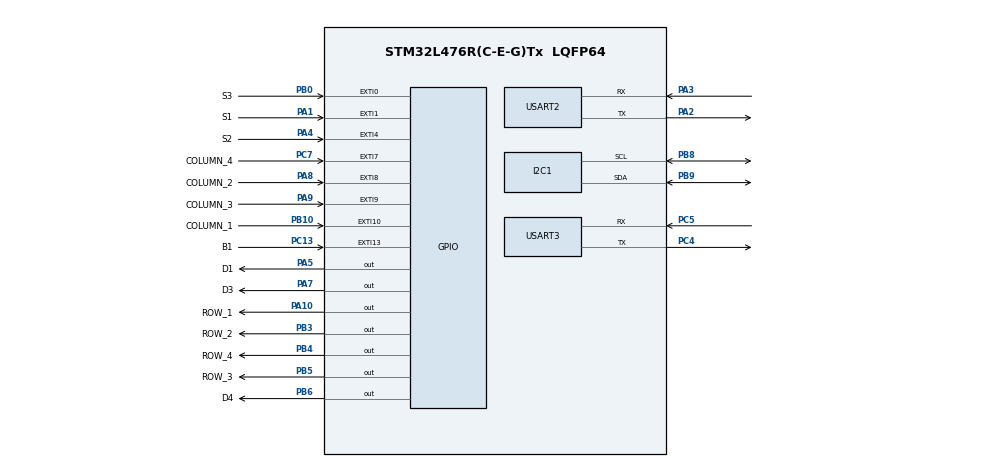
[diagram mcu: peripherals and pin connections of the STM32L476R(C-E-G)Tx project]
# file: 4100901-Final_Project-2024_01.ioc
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Mcu.Family=STM32L4
Mcu.Name=STM32L476R(C-E-G)Tx
Mcu.Package=LQFP64
NVIC.EXTI0_IRQn=true\:0\:0\:false\:false\:true\:true\:true\:true
NVIC.EXTI15_10_IRQn=true\:0\:0\:false\:false\:true\:true\:true\:true
NVIC.EXTI1_IRQn=true\:0\:0\:false\:false\:true\:true\:true\:true
NVIC.EXTI4_IRQn=true\:0\:0\:false\:false\:true\:true\:true\:true
NVIC.EXTI9_5_IRQn=true\:0\:0\:false\:false\:true\:true\:true\:true
NVIC.PriorityGroup=NVIC_PRIORITYGROUP_4
NVIC.USART2_IRQn=true\:0\:0\:false\:false\:true\:true\:true\:true
NVIC.USART3_IRQn=true\:0\:0\:false\:false\:true\:true\:true\:true
PA1.GPIO_Label=S1
PA1.GPIO_ModeDefaultEXTI=GPIO_MODE_IT_FALLING
PA1.GPIO_PuPd=GPIO_PULLUP
PA1.Signal=GPXTI1
PA10.GPIO_Label=ROW_1
PA10.GPIO_ModeDefaultOutputPP=GPIO_MODE_OUTPUT_PP
PA10.GPIO_Speed=GPIO_SPEED_FREQ_HIGH
PA10.PinState=GPIO_PIN_SET
PA10.Signal=GPIO_Output
PA2.Mode=Asynchronous
PA2.Signal=USART2_TX
PA3.Mode=Asynchronous
PA3.Signal=USART2_RX
PA4.GPIO_Label=S2
PA4.GPIO_ModeDefaultEXTI=GPIO_MODE_IT_FALLING
PA4.GPIO_PuPd=GPIO_PULLUP
PA4.Signal=GPXTI4
PA5.GPIO_Label=D1
PA5.PinState=GPIO_PIN_SET
PA5.Signal=GPIO_Output
PA7.GPIO_Label=D3
PA7.PinState=GPIO_PIN_SET
PA7.Signal=GPIO_Output
PA8.GPIO_Label=COLUMN_2
PA8.GPIO_PuPd=GPIO_PULLDOWN
PA8.Signal=GPXTI8
PA9.GPIO_Label=COLUMN_3
PA9.GPIO_PuPd=GPIO_PULLDOWN
PA9.Signal=GPXTI9
PB0.GPIO_Label=S3
PB0.Signal=GPXTI0
PB10.GPIO_Label=COLUMN_1
PB10.GPIO_PuPd=GPIO_PULLDOWN
PB10.Signal=GPXTI10
PB3\ (JTDO-TRACESWO).GPIO_Label=ROW_2
PB3\ (JTDO-TRACESWO).GPIO_ModeDefaultOutputPP=GPIO_MODE_OUTPUT_PP
PB3\ (JTDO-TRACESWO).GPIO_Speed=GPIO_SPEED_FREQ_HIGH
PB3\ (JTDO-TRACESWO).PinState=GPIO_PIN_SET
PB3\ (JTDO-TRACESWO).Signal=GPIO_Output
PB4\ (NJTRST).GPIO_Label=ROW_4
PB4\ (NJTRST).GPIO_ModeDefaultOutputPP=GPIO_MODE_OUTPUT_PP
PB4\ (NJTRST).GPIO_Speed=GPIO_SPEED_FREQ_HIGH
PB4\ (NJTRST).PinState=GPIO_PIN_SET
PB4\ (NJTRST).Signal=GPIO_Output
PB5.GPIO_Label=ROW_3
PB5.GPIO_ModeDefaultOutputPP=GPIO_MODE_OUTPUT_PP
PB5.GPIO_Speed=GPIO_SPEED_FREQ_HIGH
PB5.PinState=GPIO_PIN_SET
PB5.Signal=GPIO_Output
PB6.GPIO_Label=D4
PB6.PinState=GPIO_PIN_SET
PB6.Signal=GPIO_Output
PB8.Mode=I2C
PB8.Signal=I2C1_SCL
PB9.Mode=I2C
PB9.Signal=I2C1_SDA
PC13.GPIO_Label=B1
PC13.Signal=GPXTI13
PC4.Mode=Asynchronous
PC4.Signal=USART3_TX
PC5.Mode=Asynchronous
PC5.Signal=USART3_RX
PC7.GPIO_Label=COLUMN_4
PC7.GPIO_PuPd=GPIO_PULLDOWN
PC7.Signal=GPXTI7
ProjectManager.HeapSize=0x200
ProjectManager.StackSize=0x400
ProjectManager.TargetToolchain=STM32CubeIDE
RCC.HSE_VALUE=8000000
RCC.HSI_VALUE=16000000
RCC.LSE_VALUE=32768
RCC.MSI_VALUE=4000000
RCC.VCOOutputFreq_Value=32000000
USART2.VirtualMode-Asynchronous=VM_ASYNC
USART3.VirtualMode-Asynchronous=VM_ASYNC
board=custom

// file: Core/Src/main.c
/* USER CODE BEGIN Header */
/**
  ******************************************************************************
  * @file           : main.c
  * @brief          : Main program body
  ******************************************************************************
  * @attention
  *
  * Copyright (c) 2024 STMicroelectronics.
  * All rights reserved.
  *
  * This software is licensed under terms that can be found in the LICENSE file
  * in the root directory of this software component.
  * If no LICENSE file comes with this software, it is provided AS-IS.
  *
  ******************************************************************************
  */
/* USER CODE END Header */
#include "main.h"
#include "turn_signal.h"
/* USER CODE BEGIN Includes */
#include <stdio.h>

#include "ssd1306.h"
#include "ssd1306_fonts.h"
#include "password_validator.h"

#include "ring_buffer.h"
#include "keypad.h"
#define DEBOUNCE_TIME 200
uint8_t data_usart2;
uint8_t newline[] = "\r\n";

#define BUFFER_CAPACITY 10
uint8_t keyboard_buffer_memory[BUFFER_CAPACITY];
ring_buffer_t keyboard_ring_buffer;

#define USART2_BUFFER_SIZE 10
uint8_t usart2_buffer[USART2_BUFFER_SIZE];
ring_buffer_t usart2_rb;
uint8_t usart2_rx;

#define MAX_PASSWORD_LENGTH 10
char current_password[MAX_PASSWORD_LENGTH] = "12345";
uint8_t changing_password = 0;
char new_password[MAX_PASSWORD_LENGTH];
uint8_t new_password_index = 0;

uint8_t first_key_pressed = 0;
uint8_t cursor_x_position = 10;  // Control de la posición del cursor horizontal
uint8_t cursor_y_position = 30;  // Línea en la que aparecerán las teclas
uint8_t max_cursor_x_position = 80;

#define MAX_DISPLAY_CHARS 20 // Ajusta este valor según el tamaño de la pantalla y el tamaño del texto

// Buffer para almacenar la secuencia de teclas
static char display_buffer[MAX_DISPLAY_CHARS + 1]; // +1 para el terminador nulo
static uint8_t buffer_index = 0; // Asegúrate de que esta definición sea única

// Variables para la posición actual del cursor en la pantalla
static uint8_t cursor_x = 10;
static uint8_t cursor_y = 30;
uint16_t left_toggles=0;
uint8_t incorrect_password_toggles = 6;  // Parpadeos para contraseña incorrecta
uint32_t incorrect_password_interval = 125;  // 125 ms entre parpadeos
uint16_t left_toggles2=0;
uint8_t authorized_access=0;
uint8_t flag_parking;
uint8_t validate_uart=2;
uint8_t key_pressed=0xFF;
uint8_t detected_d=0;
uint8_t detected_a=0;
uint8_t detected_b=0;

/* USER CODE END Includes */

I2C_HandleTypeDef hi2c1;

UART_HandleTypeDef huart2;
UART_HandleTypeDef huart3;

/* USER CODE BEGIN PV */

uint32_t left_last_press_tick = 0;
uint16_t right_toggles=0;
uint32_t counter_left=0;
uint32_t last_debounce_time_left = 0;
uint32_t last_debounce_time_right = 0,last_debounce_time_hazard = 0;
uint32_t counter_right=0,counter_hazard=0;
uint32_t last_debounce_time_parking=0,counter_parking=0,parking_toggle=0;

/* USER CODE END PV */

void SystemClock_Config(void);
static void MX_GPIO_Init(void);
static void MX_I2C1_Init(void);
static void MX_USART2_UART_Init(void);
static void MX_USART3_UART_Init(void);

/* USER CODE BEGIN 0 */
int _write(int file, char *ptr, int len)
{
  HAL_UART_Transmit(&huart2, (uint8_t *)ptr, len, 10);
  return len;
}

void HAL_UART_RxCpltCallback(UART_HandleTypeDef *huart)
{
  /* Data received in USART2 */
  if (huart->Instance == USART2) {
	  usart2_rx = USART2->RDR; // leyendo el byte recibido de USART2
	  ring_buffer_write(&usart2_rb, usart2_rx);
	  }

	  // put the data received in buffer
	  HAL_UART_Receive_IT(&huart2, &usart2_rx, 1); // enable interrupt to continue receiving
	  ATOMIC_SET_BIT(USART2->CR1, USART_CR1_RXNEIE); // usando un funcion mas liviana para reducir memoria
  }

// Contraseña actual, inicialmente es la contraseña por defecto "12345"

void HAL_GPIO_EXTI_Callback(uint16_t GPIO_Pin)
{
    key_pressed = keypad_scan(GPIO_Pin);

    // Si el sistema tiene acceso autorizado
    if (authorized_access == 1) {
        handle_all_buttons(GPIO_Pin);
    }

    if (key_pressed != 0xFF) {

        // Resetear secuencia
        if (key_pressed == '*') {
            ring_buffer_reset(&keyboard_ring_buffer);
            memset(display_buffer, 0, sizeof(display_buffer)); // Limpiar el buffer de pantalla
            buffer_index = 0; // Reiniciar el índice del buffer

            ssd1306_Fill(Black);
            ssd1306_SetCursor(10, 20);
            ssd1306_WriteString("Secuencia reiniciada", Font_6x8, White);
            ssd1306_UpdateScreen();
            HAL_UART_Transmit(&huart2, (uint8_t*)"Secuencia reiniciada\n\r", 22, 10);
            return;
        }

        if (key_pressed == 'A') {
            if (authorized_access == 1 && !changing_password) {
                // Cambiar a estado de cambio de contraseña
                changing_password = 1;
                new_password_index = 0;  // Reiniciar índice de la nueva contraseña

                // Mostrar mensaje de cambio de contraseña en la pantalla
                ssd1306_Fill(Black);
                ssd1306_SetCursor(10, 10);
                ssd1306_WriteString("Cambio de", Font_6x8, White);
                ssd1306_SetCursor(10, 20);
                ssd1306_WriteString("contrasena", Font_6x8, White);
                ssd1306_SetCursor(10, 40);
                ssd1306_WriteString("Ingrese nueva", Font_6x8, White);
                ssd1306_SetCursor(10, 50);
                ssd1306_WriteString("y presione #", Font_6x8, White);
                ssd1306_UpdateScreen();

                return;
            }
        }

        if (key_pressed == 'B') {
            detected_b = 1;
        }

        // Si estamos en el estado de cambiar la contraseña
        if (changing_password) {
            if (key_pressed == '#' ) {
                // Cuando el usuario presiona '#', validar la contraseña ingresada
                if (new_password_index > 0) {
                    strncpy(current_password, new_password, MAX_PASSWORD_LENGTH);  // Guardar la nueva contraseña

                    // Mostrar mensaje de éxito en la pantalla
                    ssd1306_Fill(Black);
                    ssd1306_SetCursor(10, 20);
                    ssd1306_WriteString("Contrasena", Font_6x8, White);
                    ssd1306_SetCursor(10, 30);
                    ssd1306_WriteString("cambiada!", Font_6x8, White);
                    ssd1306_UpdateScreen();
                    HAL_UART_Transmit(&huart2, (uint8_t*)"Contrasena cambiada\n\r", 21, 10);

                    // Resetear el estado de cambio de contraseña
                    changing_password = 0;

                    ssd1306_UpdateScreen();
                }
                return;
            } else if (key_pressed != '*' && key_pressed != '#' && new_password_index < MAX_PASSWORD_LENGTH) {
                // Almacenar la tecla como parte de la nueva contraseña
                new_password[new_password_index++] = key_pressed;
                new_password[new_password_index] = '\0'; // Null-terminar el string

                // Mostrar los asteriscos mientras se ingresa la nueva contraseña
                ssd1306_Fill(Black);
                ssd1306_SetCursor(10, 30);
                ssd1306_WriteString("Nueva clave:", Font_6x8, White);
                ssd1306_SetCursor(10, 50);
                ssd1306_WriteString("********", Font_6x8, White);  // Mostrar asteriscos
                ssd1306_UpdateScreen();
            }
            return;
        }

        // Escribir la tecla en el ring buffer si no es el menú
        if (key_pressed != '#' && key_pressed != 'D' && key_pressed != 'A' && key_pressed != 'B') {
            ring_buffer_write(&keyboard_ring_buffer, key_pressed);

            if (buffer_index < MAX_DISPLAY_CHARS) {
                display_buffer[buffer_index++] = key_pressed;
                display_buffer[buffer_index] = '\0'; // Null-terminar el buffer

                ssd1306_Fill(Black);
                ssd1306_SetCursor(10, 30);
                ssd1306_WriteString(display_buffer, Font_6x8, White);
                ssd1306_UpdateScreen();
                HAL_UART_Transmit(&huart2, &key_pressed, 1, 10);
            }
            return;
        }

        // Validar la contraseña con la actual (que es "12345" por defecto o la nueva si se ha cambiado)
        const char* my_id2 = current_password;  // Usamos la contraseña actual
        uint8_t result = validate_password(my_id2, &keyboard_ring_buffer);

        if (result == 1) {
            HAL_UART_Transmit(&huart2, (uint8_t*)"Contrasena Correcta\n\r", 21, 10);
            HAL_UART_Transmit(&huart2, (uint8_t*)"Iniciando...\n\r", 14, 10);
            // Contraseña correcta
            ssd1306_Fill(Black);
            ssd1306_SetCursor(10, 20);
            ssd1306_WriteString("Acceso autorizado", Font_6x8, White);
            ssd1306_UpdateScreen();
            authorized_access = 1;
        } else {
            ssd1306_Fill(Black);
            ssd1306_SetCursor(10, 20);
            ssd1306_WriteString("Incorrecto", Font_6x8, White);
            ssd1306_UpdateScreen();
            HAL_UART_Transmit(&huart2, (uint8_t*)"Incorrecto\n\r", 12, 10);
            left_toggles = 6;
        }

        // Reiniciar buffer y display
        ring_buffer_reset(&keyboard_ring_buffer);
        memset(display_buffer, 0, sizeof(display_buffer));
        buffer_index = 0;
    }
}

void heartbeat(void)
{
	static uint32_t heartbeat_tick = 0;
	if (heartbeat_tick < HAL_GetTick()){
		heartbeat_tick = HAL_GetTick()+ 500;
		HAL_GPIO_TogglePin(D1_GPIO_Port, D1_Pin);
	}
}
void turn_signal_left(void)
{
	if(parking_toggle==0){
		static uint32_t turn_toggle_tick = 0;
		if (turn_toggle_tick < HAL_GetTick()){
			if(left_toggles > 0){
			turn_toggle_tick = HAL_GetTick()+ 200;
			HAL_GPIO_TogglePin(D3_GPIO_Port, D3_Pin);
			left_toggles--;
			if(left_toggles==0){

				ssd1306_Fill(Black);
				ssd1306_SetCursor(10, 10);
				ssd1306_WriteString("left Light OFF", Font_7x10, White);
				ssd1306_UpdateScreen();
				if(right_toggles!=0){
					ssd1306_SetCursor(10, 40);
					ssd1306_WriteString("Right Light ON", Font_7x10, White);
					ssd1306_UpdateScreen();

				}else{
					ssd1306_SetCursor(10, 40);
					ssd1306_WriteString("Right Light OFF", Font_7x10, White);
					ssd1306_UpdateScreen();

				}

			}else{
				ssd1306_Fill(Black);
				ssd1306_SetCursor(10, 10);
				ssd1306_WriteString("left Light ON", Font_7x10, White);
				ssd1306_SetCursor(10, 40);
				ssd1306_WriteString("Right Light OFF", Font_7x10, White);
				ssd1306_UpdateScreen();
			}

		}else{
	//		HAL_GPIO_WritePin(D3_GPIO_Port, D3_Pin,1);
		}

	  }

	}

}

void turn_signal_right (void){
	if(parking_toggle==0){
		static uint32_t tunr_togle_tick = 0;
		if(tunr_togle_tick  < HAL_GetTick() ){
			if(right_toggles> 0){
				tunr_togle_tick = HAL_GetTick() + 200;
				HAL_GPIO_TogglePin(D4_GPIO_Port, D4_Pin);
				right_toggles--;

				if(right_toggles==0){

					ssd1306_Fill(Black);
					ssd1306_SetCursor(10, 40);
					ssd1306_WriteString("Right Light OFF", Font_7x10, White);
					ssd1306_UpdateScreen();
					if(right_toggles!=0){
						ssd1306_SetCursor(10, 10);
						ssd1306_WriteString("light Light ON", Font_7x10, White);
						ssd1306_UpdateScreen();

					}else{
						ssd1306_SetCursor(10, 10);
						ssd1306_WriteString("light Light OFF", Font_7x10, White);
						ssd1306_UpdateScreen();

					}

				}else{
					ssd1306_Fill(Black);
					ssd1306_SetCursor(10, 10);
					ssd1306_WriteString("left Light OFF", Font_7x10, White);
					ssd1306_SetCursor(10, 40);
					ssd1306_WriteString("Right Light ON", Font_7x10, White);
					ssd1306_UpdateScreen();
				}

				}

			} else{
	//			HAL_GPIO_WritePin(D4_GPIO_Port, D4_Pin, 1);

			}

	}

	}

void signal_parking_light (void){

	static uint32_t tunr_togle_tick = 0;
	if(tunr_togle_tick  < HAL_GetTick() ){
		if(parking_toggle> 0){
			tunr_togle_tick = HAL_GetTick() + 300;
			HAL_GPIO_TogglePin(D4_GPIO_Port, D4_Pin);
			HAL_GPIO_TogglePin(D3_GPIO_Port, D3_Pin);
			parking_toggle--;

			if(parking_toggle==0){

			}else{
				ssd1306_Fill(Black);
				ssd1306_SetCursor(0, 25);
				ssd1306_WriteString("Parking Light ON", Font_7x10, White);
				ssd1306_UpdateScreen();
			}

		}
	}
}

void handle_all_buttons(uint16_t GPIO_Pin) {
    // Lógica para apagar la luz derecha si se presiona S1 (luz izquierda)
    if (GPIO_Pin == S1_Pin) {
    	if(flag_parking==0){
            if (right_toggles > 0) {
                right_toggles = 0;  // Apaga la luz derecha si está parpadeando
                HAL_GPIO_WritePin(D4_GPIO_Port, D4_Pin, 1);  // Apaga el LED derecho
                HAL_UART_Transmit(&huart2, "Right light off (due to S1)\r\n", 30, 10);

            }
            handle_turn_signal(D3_GPIO_Port, D3_Pin, &counter_left, &left_toggles, 200, "S1\r\n", "S1_off\r\n");

    	}

    }

    // Lógica para apagar la luz izquierda si se presiona S2 (luz derecha)
    if (GPIO_Pin == S2_Pin) {
    	if(flag_parking==0){
            if (left_toggles > 0) {
                left_toggles = 0;  // Apaga la luz izquierda si está parpadeando
                HAL_GPIO_WritePin(D3_GPIO_Port, D3_Pin, 1);  // Apaga el LED izquierdo
                HAL_UART_Transmit(&huart2, (uint8_t *)"Left light off (due to S2)\r\n", 29, 10);
            }
            handle_turn_signal(D4_GPIO_Port, D4_Pin, &counter_right, &right_toggles, 200, "S2\r\n", "S2_off\r\n");

    	}

    }

    // Lógica para apagar ambas luces si se presiona S3 (luces de parqueo)
    if (GPIO_Pin == S3_Pin) {
        if (left_toggles > 0 || right_toggles > 0) {
            left_toggles = 0;  // Apaga la luz izquierda si está encendida
            right_toggles = 0;  // Apaga la luz derecha si está encendida
            HAL_GPIO_WritePin(D3_GPIO_Port, D3_Pin, 1);  // Apaga el LED izquierdo
            HAL_GPIO_WritePin(D4_GPIO_Port, D4_Pin, 1);  // Apaga el LED derecho
            HAL_UART_Transmit(&huart2, (uint8_t *)"Both lights off (due to S3)\r\n", 31, 10);
        }

        handle_parking_lights(D3_GPIO_Port, D3_Pin, D4_GPIO_Port, D4_Pin, &counter_parking, &parking_toggle, 300, "Parking ON\r\n", "Parking OFF\r\n");

    }
}

// Función para manejar el botón y los toggles (izquierda o derecha)
void handle_turn_signal(GPIO_TypeDef* GPIO_Port, uint16_t GPIO_Pin, uint32_t* counter, uint32_t* toggles, uint32_t blink_interval, char* uart_msg_on, char* uart_msg_off) {
    uint32_t current_time = HAL_GetTick();

    if (current_time - last_debounce_time_left >= DEBOUNCE_TIME) {

        if (current_time - last_debounce_time_left > 1000 && *counter < 2) {
            *counter = 0;  // Reinicia el contador si ha pasado suficiente tiempo sin una segunda pulsación
        }

        (*counter)++;
        last_debounce_time_left = current_time;

        if (*counter == 1) {
            *toggles = 6;  // 6 parpadeos
            HAL_UART_Transmit(&huart2, uart_msg_on, strlen(uart_msg_on), 10);
        } else if (*counter == 2) {
            *toggles = 0xEEEEEEE;  // Parpadeo infinito
            HAL_UART_Transmit(&huart2, uart_msg_on, strlen(uart_msg_on), 10);
        } else if (*counter >= 3) {
            *counter = 0;
            *toggles = 0;  // Apagar la luz
            HAL_UART_Transmit(&huart2, uart_msg_off, strlen(uart_msg_off), 10);
            HAL_GPIO_WritePin(GPIO_Port, GPIO_Pin, 1);
        }
    }
}

// Función para manejar las luces de estacionamiento (ambas luces a la vez)
void handle_parking_lights(GPIO_TypeDef* GPIO_Port_Left, uint16_t GPIO_Pin_Left, GPIO_TypeDef* GPIO_Port_Right, uint16_t GPIO_Pin_Right, uint32_t* counter, uint32_t* toggles, uint32_t blink_interval, char* uart_msg_on, char* uart_msg_off) {
    uint32_t current_time = HAL_GetTick();

    if (current_time - last_debounce_time_parking >= DEBOUNCE_TIME) {
        (*counter)++;
        last_debounce_time_parking = current_time;

        if (*counter == 1) {
            *toggles = 0xEEEE;  // Parpadeo continuo para las luces de estacionamiento
            HAL_UART_Transmit(&huart2, uart_msg_on, strlen(uart_msg_on), 10);
        } else if (*counter >= 2) {
			ssd1306_Fill(Black);
			ssd1306_SetCursor(0, 25);
			ssd1306_WriteString("parking Light OFF", Font_7x10, White);
			ssd1306_UpdateScreen();
            *toggles = 0;  // Apagar ambas luces
            HAL_UART_Transmit(&huart2, uart_msg_off, strlen(uart_msg_off), 10);
            *counter = 0;
            HAL_GPIO_WritePin(GPIO_Port_Right, GPIO_Pin_Right, 1);
            HAL_GPIO_WritePin(GPIO_Port_Left, GPIO_Pin_Left, 1);

        }
    }
}
/* USER CODE END 0 */

int main(void)
{

  /* MCU Configuration--------------------------------------------------------*/

  /* Reset of all peripherals, Initializes the Flash interface and the Systick. */
  HAL_Init();

  /* Configure the system clock */
  SystemClock_Config();

  /* Initialize all configured peripherals */
  MX_GPIO_Init();
  MX_I2C1_Init();
  MX_USART2_UART_Init();
  MX_USART3_UART_Init();
  /* USER CODE BEGIN 2 */

  ssd1306_Init();
  ssd1306_SetCursor(0, 10);
  ssd1306_UpdateScreen();
  ssd1306_WriteString("Bienvenido", Font_6x8, White);
  ssd1306_SetCursor(0, 30);
  ssd1306_UpdateScreen();
  ssd1306_WriteString("Ingrese la ", Font_6x8, White);
  ssd1306_SetCursor(0, 50);
  ssd1306_WriteString("Contraseña", Font_6x8, White);
  ssd1306_UpdateScreen();

  ring_buffer_init(&keyboard_ring_buffer, keyboard_buffer_memory, BUFFER_CAPACITY);
  ring_buffer_init(&usart2_rb, usart2_buffer, USART2_BUFFER_SIZE);
  /* USER CODE END 2 */

  /* Infinite loop */
  /* USER CODE BEGIN WHILE */
  printf("Starting...\r\n");
  //HAL_UART_Receive_IT(&huart2, &usart2_rx, 1); // enable interrupt for USART2 Rx
  ATOMIC_SET_BIT(USART2->CR1, USART_CR1_RXNEIE); // usando un funcion mas liviana para reducir memoria
  while (1) {

	  const char my_id1[4] = "open";
	  if(ring_buffer_is_empty(&usart2_rb)==0){
		  validate_uart=validate_password(my_id1,&usart2_rb);
		  if(validate_uart==1 ){

	          HAL_UART_Transmit(&huart2, "acceso permitido\n\r",18 , 10);

		  }else if(validate_uart==0){
	          HAL_UART_Transmit(&huart2, "acceso denegado\n\r",17 , 10);

		  }
	  }

      if(detected_b!=0){
      	authorized_access=0;
        ssd1306_Fill(Black);
        ssd1306_WriteString("Bienvenido", Font_6x8, White);
        ssd1306_SetCursor(0, 30);
        ssd1306_UpdateScreen();
        ssd1306_WriteString("Ingrese la ", Font_6x8, White);
        ssd1306_SetCursor(0, 50);
        ssd1306_WriteString("Contraseña", Font_6x8, White);
        ssd1306_UpdateScreen();
        detected_b=0;

      }

	  if(authorized_access==1){

          heartbeat();
    	  turn_signal_left();
    	  turn_signal_right();
    	  signal_parking_light();
	  }

    /* USER CODE END WHILE */

  }
}

void SystemClock_Config(void)
{
  RCC_OscInitTypeDef RCC_OscInitStruct = {0};
  RCC_ClkInitTypeDef RCC_ClkInitStruct = {0};

  /** Configure the main internal regulator output voltage
  */
  if (HAL_PWREx_ControlVoltageScaling(PWR_REGULATOR_VOLTAGE_SCALE1) != HAL_OK)
  {
    Error_Handler();
  }

  /** Initializes the RCC Oscillators according to the specified parameters
  * in the RCC_OscInitTypeDef structure.
  */
  RCC_OscInitStruct.OscillatorType = RCC_OSCILLATORTYPE_MSI;
  RCC_OscInitStruct.MSIState = RCC_MSI_ON;
  RCC_OscInitStruct.MSICalibrationValue = 0;
  RCC_OscInitStruct.MSIClockRange = RCC_MSIRANGE_6;
  RCC_OscInitStruct.PLL.PLLState = RCC_PLL_NONE;
  if (HAL_RCC_OscConfig(&RCC_OscInitStruct) != HAL_OK)
  {
    Error_Handler();
  }

  /** Initializes the CPU, AHB and APB buses clocks
  */
  RCC_ClkInitStruct.ClockType = RCC_CLOCKTYPE_HCLK|RCC_CLOCKTYPE_SYSCLK
                              |RCC_CLOCKTYPE_PCLK1|RCC_CLOCKTYPE_PCLK2;
  RCC_ClkInitStruct.SYSCLKSource = RCC_SYSCLKSOURCE_MSI;
  RCC_ClkInitStruct.AHBCLKDivider = RCC_SYSCLK_DIV1;
  RCC_ClkInitStruct.APB1CLKDivider = RCC_HCLK_DIV1;
  RCC_ClkInitStruct.APB2CLKDivider = RCC_HCLK_DIV1;

  if (HAL_RCC_ClockConfig(&RCC_ClkInitStruct, FLASH_LATENCY_0) != HAL_OK)
  {
    Error_Handler();
  }
}

static void MX_I2C1_Init(void)
{

  hi2c1.Instance = I2C1;
  hi2c1.Init.Timing = 0x00000E14;
  hi2c1.Init.OwnAddress1 = 0;
  hi2c1.Init.AddressingMode = I2C_ADDRESSINGMODE_7BIT;
  hi2c1.Init.DualAddressMode = I2C_DUALADDRESS_DISABLE;
  hi2c1.Init.OwnAddress2 = 0;
  hi2c1.Init.OwnAddress2Masks = I2C_OA2_NOMASK;
  hi2c1.Init.GeneralCallMode = I2C_GENERALCALL_DISABLE;
  hi2c1.Init.NoStretchMode = I2C_NOSTRETCH_DISABLE;
  if (HAL_I2C_Init(&hi2c1) != HAL_OK)
  {
    Error_Handler();
  }

  /** Configure Analogue filter
  */
  if (HAL_I2CEx_ConfigAnalogFilter(&hi2c1, I2C_ANALOGFILTER_ENABLE) != HAL_OK)
  {
    Error_Handler();
  }

  /** Configure Digital filter
  */
  if (HAL_I2CEx_ConfigDigitalFilter(&hi2c1, 0) != HAL_OK)
  {
    Error_Handler();
  }

}

static void MX_USART2_UART_Init(void)
{

  huart2.Instance = USART2;
  huart2.Init.BaudRate = 115200;
  huart2.Init.WordLength = UART_WORDLENGTH_8B;
  huart2.Init.StopBits = UART_STOPBITS_1;
  huart2.Init.Parity = UART_PARITY_NONE;
  huart2.Init.Mode = UART_MODE_TX_RX;
  huart2.Init.HwFlowCtl = UART_HWCONTROL_NONE;
  huart2.Init.OverSampling = UART_OVERSAMPLING_16;
  huart2.Init.OneBitSampling = UART_ONE_BIT_SAMPLE_DISABLE;
  huart2.AdvancedInit.AdvFeatureInit = UART_ADVFEATURE_NO_INIT;
  if (HAL_UART_Init(&huart2) != HAL_OK)
  {
    Error_Handler();
  }

}

static void MX_USART3_UART_Init(void)
{

  huart3.Instance = USART3;
  huart3.Init.BaudRate = 115200;
  huart3.Init.WordLength = UART_WORDLENGTH_8B;
  huart3.Init.StopBits = UART_STOPBITS_1;
  huart3.Init.Parity = UART_PARITY_NONE;
  huart3.Init.Mode = UART_MODE_TX_RX;
  huart3.Init.HwFlowCtl = UART_HWCONTROL_NONE;
  huart3.Init.OverSampling = UART_OVERSAMPLING_16;
  huart3.Init.OneBitSampling = UART_ONE_BIT_SAMPLE_DISABLE;
  huart3.AdvancedInit.AdvFeatureInit = UART_ADVFEATURE_NO_INIT;
  if (HAL_UART_Init(&huart3) != HAL_OK)
  {
    Error_Handler();
  }

}

static void MX_GPIO_Init(void)
{
  GPIO_InitTypeDef GPIO_InitStruct = {0};

  /* GPIO Ports Clock Enable */
  __HAL_RCC_GPIOC_CLK_ENABLE();
  __HAL_RCC_GPIOA_CLK_ENABLE();
  __HAL_RCC_GPIOB_CLK_ENABLE();

  /*Configure GPIO pin Output Level */
  HAL_GPIO_WritePin(GPIOA, D1_Pin|D3_Pin|ROW_1_Pin, GPIO_PIN_SET);

  /*Configure GPIO pin Output Level */
  HAL_GPIO_WritePin(GPIOB, ROW_2_Pin|ROW_4_Pin|ROW_3_Pin|D4_Pin, GPIO_PIN_SET);

  /*Configure GPIO pin : B1_Pin */
  GPIO_InitStruct.Pin = B1_Pin;
  GPIO_InitStruct.Mode = GPIO_MODE_IT_RISING;
  GPIO_InitStruct.Pull = GPIO_NOPULL;
  HAL_GPIO_Init(B1_GPIO_Port, &GPIO_InitStruct);

  /*Configure GPIO pins : S1_Pin S2_Pin */
  GPIO_InitStruct.Pin = S1_Pin|S2_Pin;
  GPIO_InitStruct.Mode = GPIO_MODE_IT_FALLING;
  GPIO_InitStruct.Pull = GPIO_PULLUP;
  HAL_GPIO_Init(GPIOA, &GPIO_InitStruct);

  /*Configure GPIO pins : D1_Pin D3_Pin */
  GPIO_InitStruct.Pin = D1_Pin|D3_Pin;
  GPIO_InitStruct.Mode = GPIO_MODE_OUTPUT_PP;
  GPIO_InitStruct.Pull = GPIO_NOPULL;
  GPIO_InitStruct.Speed = GPIO_SPEED_FREQ_LOW;
  HAL_GPIO_Init(GPIOA, &GPIO_InitStruct);

  /*Configure GPIO pin : S3_Pin */
  GPIO_InitStruct.Pin = S3_Pin;
  GPIO_InitStruct.Mode = GPIO_MODE_IT_RISING;
  GPIO_InitStruct.Pull = GPIO_NOPULL;
  HAL_GPIO_Init(S3_GPIO_Port, &GPIO_InitStruct);

  /*Configure GPIO pin : COLUMN_1_Pin */
  GPIO_InitStruct.Pin = COLUMN_1_Pin;
  GPIO_InitStruct.Mode = GPIO_MODE_IT_RISING;
  GPIO_InitStruct.Pull = GPIO_PULLDOWN;
  HAL_GPIO_Init(COLUMN_1_GPIO_Port, &GPIO_InitStruct);

  /*Configure GPIO pin : COLUMN_4_Pin */
  GPIO_InitStruct.Pin = COLUMN_4_Pin;
  GPIO_InitStruct.Mode = GPIO_MODE_IT_RISING;
  GPIO_InitStruct.Pull = GPIO_PULLDOWN;
  HAL_GPIO_Init(COLUMN_4_GPIO_Port, &GPIO_InitStruct);

  /*Configure GPIO pins : COLUMN_2_Pin COLUMN_3_Pin */
  GPIO_InitStruct.Pin = COLUMN_2_Pin|COLUMN_3_Pin;
  GPIO_InitStruct.Mode = GPIO_MODE_IT_RISING;
  GPIO_InitStruct.Pull = GPIO_PULLDOWN;
  HAL_GPIO_Init(GPIOA, &GPIO_InitStruct);

  /*Configure GPIO pin : ROW_1_Pin */
  GPIO_InitStruct.Pin = ROW_1_Pin;
  GPIO_InitStruct.Mode = GPIO_MODE_OUTPUT_PP;
  GPIO_InitStruct.Pull = GPIO_NOPULL;
  GPIO_InitStruct.Speed = GPIO_SPEED_FREQ_HIGH;
  HAL_GPIO_Init(ROW_1_GPIO_Port, &GPIO_InitStruct);

  /*Configure GPIO pins : ROW_2_Pin ROW_4_Pin ROW_3_Pin */
  GPIO_InitStruct.Pin = ROW_2_Pin|ROW_4_Pin|ROW_3_Pin;
  GPIO_InitStruct.Mode = GPIO_MODE_OUTPUT_PP;
  GPIO_InitStruct.Pull = GPIO_NOPULL;
  GPIO_InitStruct.Speed = GPIO_SPEED_FREQ_HIGH;
  HAL_GPIO_Init(GPIOB, &GPIO_InitStruct);

  /*Configure GPIO pin : D4_Pin */
  GPIO_InitStruct.Pin = D4_Pin;
  GPIO_InitStruct.Mode = GPIO_MODE_OUTPUT_PP;
  GPIO_InitStruct.Pull = GPIO_NOPULL;
  GPIO_InitStruct.Speed = GPIO_SPEED_FREQ_LOW;
  HAL_GPIO_Init(D4_GPIO_Port, &GPIO_InitStruct);

  /* EXTI interrupt init*/
  HAL_NVIC_SetPriority(EXTI0_IRQn, 0, 0);
  HAL_NVIC_EnableIRQ(EXTI0_IRQn);

  HAL_NVIC_SetPriority(EXTI1_IRQn, 0, 0);
  HAL_NVIC_EnableIRQ(EXTI1_IRQn);

  HAL_NVIC_SetPriority(EXTI4_IRQn, 0, 0);
  HAL_NVIC_EnableIRQ(EXTI4_IRQn);

  HAL_NVIC_SetPriority(EXTI9_5_IRQn, 0, 0);
  HAL_NVIC_EnableIRQ(EXTI9_5_IRQn);

  HAL_NVIC_SetPriority(EXTI15_10_IRQn, 0, 0);
  HAL_NVIC_EnableIRQ(EXTI15_10_IRQn);

}

void Error_Handler(void)
{
  __disable_irq();
  while (1)
  {
  }
}
